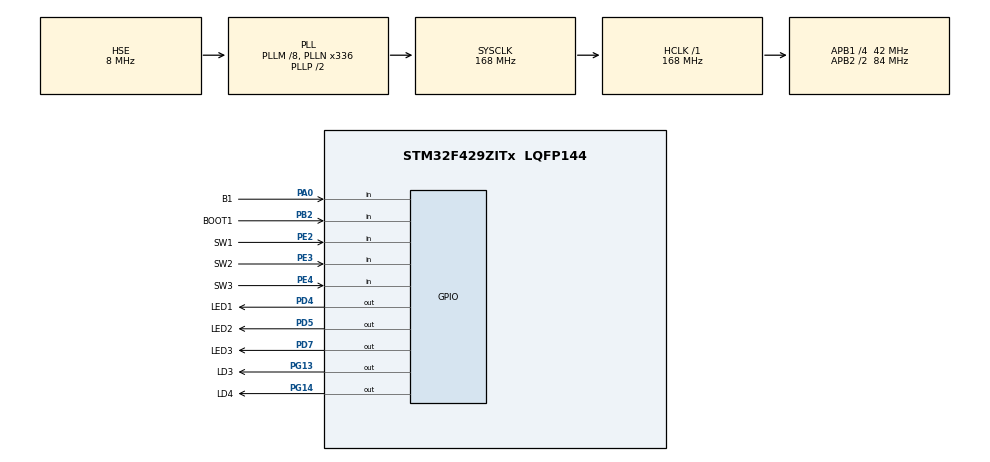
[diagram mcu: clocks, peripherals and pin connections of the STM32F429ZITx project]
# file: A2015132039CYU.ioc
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Mcu.Family=STM32F4
Mcu.Name=STM32F429ZITx
Mcu.Package=LQFP144
NVIC.PriorityGroup=NVIC_PRIORITYGROUP_4
PA0/WKUP.GPIO_Label=B1
PA0/WKUP.Signal=GPIO_Input
PA13.Mode=Serial_Wire
PA13.Signal=SYS_JTMS-SWDIO
PA14.Mode=Serial_Wire
PA14.Signal=SYS_JTCK-SWCLK
PB2/BOOT1.GPIO_Label=BOOT1
PB2/BOOT1.Signal=GPIO_Input
PD4.GPIO_Label=LED1
PD4.GPIO_Speed=GPIO_SPEED_FREQ_VERY_HIGH
PD4.Signal=GPIO_Output
PD5.GPIO_Label=LED2
PD5.GPIO_Speed=GPIO_SPEED_FREQ_VERY_HIGH
PD5.Signal=GPIO_Output
PD7.GPIO_Label=LED3
PD7.GPIO_Speed=GPIO_SPEED_FREQ_VERY_HIGH
PD7.Signal=GPIO_Output
PE2.GPIO_Label=SW1
PE2.GPIO_Mode=GPIO_MODE_INPUT
PE2.GPIO_PuPd=GPIO_NOPULL
PE2.Signal=GPIO_Input
PE3.GPIO_Label=SW2
PE3.GPIO_Mode=GPIO_MODE_INPUT
PE3.GPIO_PuPd=GPIO_NOPULL
PE3.Signal=GPIO_Input
PE4.GPIO_Label=SW3
PE4.GPIO_Mode=GPIO_MODE_INPUT
PE4.GPIO_PuPd=GPIO_NOPULL
PE4.Signal=GPIO_Input
PG13.GPIO_Label=LD3
PG13.GPIO_Speed=GPIO_SPEED_FREQ_VERY_HIGH
PG13.Signal=GPIO_Output
PG14.GPIO_Label=LD4
PG14.GPIO_Speed=GPIO_SPEED_FREQ_VERY_HIGH
PG14.Signal=GPIO_Output
PH0/OSC_IN.Mode=HSE-External-Oscillator
PH0/OSC_IN.Signal=RCC_OSC_IN
PH1/OSC_OUT.Mode=HSE-External-Oscillator
PH1/OSC_OUT.Signal=RCC_OSC_OUT
ProjectManager.HeapSize=0x200
ProjectManager.StackSize=0x400
ProjectManager.TargetToolchain=EWARM V8
RCC.48MHZClocksFreq_Value=84000000
RCC.AHBFreq_Value=168000000
RCC.APB1CLKDivider=RCC_HCLK_DIV4
RCC.APB1Freq_Value=42000000
RCC.APB1TimFreq_Value=84000000
RCC.APB2CLKDivider=RCC_HCLK_DIV2
RCC.APB2Freq_Value=84000000
RCC.APB2TimFreq_Value=168000000
RCC.CortexFreq_Value=168000000
RCC.HCLKFreq_Value=168000000
RCC.HSE_VALUE=8000000
RCC.HSI_VALUE=16000000
RCC.LSE_VALUE=32768
RCC.PLLM=8
RCC.PLLN=336
RCC.PLLSourceVirtual=RCC_PLLSOURCE_HSE
RCC.SYSCLKFreq_VALUE=168000000
RCC.SYSCLKSource=RCC_SYSCLKSOURCE_PLLCLK
RCC.VCOOutputFreq_Value=336000000
board=custom

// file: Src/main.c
/* USER CODE BEGIN Header */
/**
  ******************************************************************************
  * @file           : main.c
  * @brief          : Main program body
  ******************************************************************************
  * @attention
  *
  * <h2><center>&copy; Copyright (c) 2020 STMicroelectronics.
  * All rights reserved.</center></h2>
  *
  * This software component is licensed by ST under BSD 3-Clause license,
  * the "License"; You may not use this file except in compliance with the
  * License. You may obtain a copy of the License at:
  *                        opensource.org/licenses/BSD-3-Clause
  *
  ******************************************************************************
  */
/* USER CODE END Header */

#include "main.h"

void SystemClock_Config(void);
static void MX_GPIO_Init(void);

int main(void)
{

  /* MCU Configuration--------------------------------------------------------*/

  /* Reset of all peripherals, Initializes the Flash interface and the Systick. */
  HAL_Init();

  /* Configure the system clock */
  SystemClock_Config();

  /* Initialize all configured peripherals */
  MX_GPIO_Init();

  /* Infinite loop */
  while (1)
  {

    /* USER CODE BEGIN 3 */

#if 0
    //PG13,14 LED를 0.5초 간격으로 점멸
    GPIOG->ODR = GPIOG->ODR | (0x6000);
    HAL_Delay(500-1);
    GPIOG->ODR = GPIOG->ODR & ~(0x6000);
    HAL_Delay(500-1);

#endif

#if 0
  HAL_GPIO_WritePin(LD3_GPIO_Port,LD3_Pin|LD4_Pin,GPIO_PIN_SET);
  HAL_Delay(500);
  HAL_GPIO_WritePin(LD3_GPIO_Port,LD3_Pin|LD4_Pin,GPIO_PIN_RESET);
  HAL_Delay(500);

#endif

  // GPIO3

//sw normal(1)이면 LED off(1), sw push(0) 이면 LED on(0)
//bit mask macro 정의를 이용한 방법
  uint16_t sw;
sw= SW1_GPIO_Port->IDR ;
if( sw & SW1_Pin) LED1_GPIO_Port->ODR |= LED1_Pin ;
else LED1_GPIO_Port->ODR &= ~LED1_Pin ;
if( sw & SW2_Pin) LED2_GPIO_Port->ODR |= LED2_Pin ;
else LED2_GPIO_Port->ODR &= ~LED2_Pin ;
if( sw & SW3_Pin) LED3_GPIO_Port->ODR |= LED3_Pin ;
else LED3_GPIO_Port->ODR &= ~LED3_Pin ;
  }
  /* USER CODE END 3 */
}

void SystemClock_Config(void)
{
  RCC_OscInitTypeDef RCC_OscInitStruct = {0};
  RCC_ClkInitTypeDef RCC_ClkInitStruct = {0};

  /** Configure the main internal regulator output voltage
  */
  __HAL_RCC_PWR_CLK_ENABLE();
  __HAL_PWR_VOLTAGESCALING_CONFIG(PWR_REGULATOR_VOLTAGE_SCALE1);
  /** Initializes the CPU, AHB and APB busses clocks
  */
  RCC_OscInitStruct.OscillatorType = RCC_OSCILLATORTYPE_HSE;
  RCC_OscInitStruct.HSEState = RCC_HSE_ON;
  RCC_OscInitStruct.PLL.PLLState = RCC_PLL_ON;
  RCC_OscInitStruct.PLL.PLLSource = RCC_PLLSOURCE_HSE;
  RCC_OscInitStruct.PLL.PLLM = 8;
  RCC_OscInitStruct.PLL.PLLN = 336;
  RCC_OscInitStruct.PLL.PLLP = RCC_PLLP_DIV2;
  RCC_OscInitStruct.PLL.PLLQ = 4;
  if (HAL_RCC_OscConfig(&RCC_OscInitStruct) != HAL_OK)
  {
    Error_Handler();
  }
  /** Initializes the CPU, AHB and APB busses clocks
  */
  RCC_ClkInitStruct.ClockType = RCC_CLOCKTYPE_HCLK|RCC_CLOCKTYPE_SYSCLK
                              |RCC_CLOCKTYPE_PCLK1|RCC_CLOCKTYPE_PCLK2;
  RCC_ClkInitStruct.SYSCLKSource = RCC_SYSCLKSOURCE_PLLCLK;
  RCC_ClkInitStruct.AHBCLKDivider = RCC_SYSCLK_DIV1;
  RCC_ClkInitStruct.APB1CLKDivider = RCC_HCLK_DIV4;
  RCC_ClkInitStruct.APB2CLKDivider = RCC_HCLK_DIV2;

  if (HAL_RCC_ClockConfig(&RCC_ClkInitStruct, FLASH_LATENCY_5) != HAL_OK)
  {
    Error_Handler();
  }
}

static void MX_GPIO_Init(void)
{
  GPIO_InitTypeDef GPIO_InitStruct = {0};

  /* GPIO Ports Clock Enable */
  __HAL_RCC_GPIOE_CLK_ENABLE();
  __HAL_RCC_GPIOH_CLK_ENABLE();
  __HAL_RCC_GPIOA_CLK_ENABLE();
  __HAL_RCC_GPIOB_CLK_ENABLE();
  __HAL_RCC_GPIOD_CLK_ENABLE();
  __HAL_RCC_GPIOG_CLK_ENABLE();

  /*Configure GPIO pin Output Level */
  HAL_GPIO_WritePin(GPIOD, LED1_Pin|LED2_Pin|LED3_Pin, GPIO_PIN_RESET);

  /*Configure GPIO pin Output Level */
  HAL_GPIO_WritePin(GPIOG, LD3_Pin|LD4_Pin, GPIO_PIN_RESET);

  /*Configure GPIO pins : SW1_Pin SW2_Pin SW3_Pin */
  GPIO_InitStruct.Pin = SW1_Pin|SW2_Pin|SW3_Pin;
  GPIO_InitStruct.Mode = GPIO_MODE_INPUT;
  GPIO_InitStruct.Pull = GPIO_NOPULL;
  HAL_GPIO_Init(GPIOE, &GPIO_InitStruct);

  /*Configure GPIO pin : B1_Pin */
  GPIO_InitStruct.Pin = B1_Pin;
  GPIO_InitStruct.Mode = GPIO_MODE_INPUT;
  GPIO_InitStruct.Pull = GPIO_NOPULL;
  HAL_GPIO_Init(B1_GPIO_Port, &GPIO_InitStruct);

  /*Configure GPIO pin : BOOT1_Pin */
  GPIO_InitStruct.Pin = BOOT1_Pin;
  GPIO_InitStruct.Mode = GPIO_MODE_INPUT;
  GPIO_InitStruct.Pull = GPIO_NOPULL;
  HAL_GPIO_Init(BOOT1_GPIO_Port, &GPIO_InitStruct);

  /*Configure GPIO pins : LED1_Pin LED2_Pin LED3_Pin */
  GPIO_InitStruct.Pin = LED1_Pin|LED2_Pin|LED3_Pin;
  GPIO_InitStruct.Mode = GPIO_MODE_OUTPUT_PP;
  GPIO_InitStruct.Pull = GPIO_NOPULL;
  GPIO_InitStruct.Speed = GPIO_SPEED_FREQ_VERY_HIGH;
  HAL_GPIO_Init(GPIOD, &GPIO_InitStruct);

  /*Configure GPIO pins : LD3_Pin LD4_Pin */
  GPIO_InitStruct.Pin = LD3_Pin|LD4_Pin;
  GPIO_InitStruct.Mode = GPIO_MODE_OUTPUT_PP;
  GPIO_InitStruct.Pull = GPIO_NOPULL;
  GPIO_InitStruct.Speed = GPIO_SPEED_FREQ_VERY_HIGH;
  HAL_GPIO_Init(GPIOG, &GPIO_InitStruct);

}

void Error_Handler(void)
{
}

/************************ (C) COPYRIGHT STMicroelectronics *****END OF FILE****/
